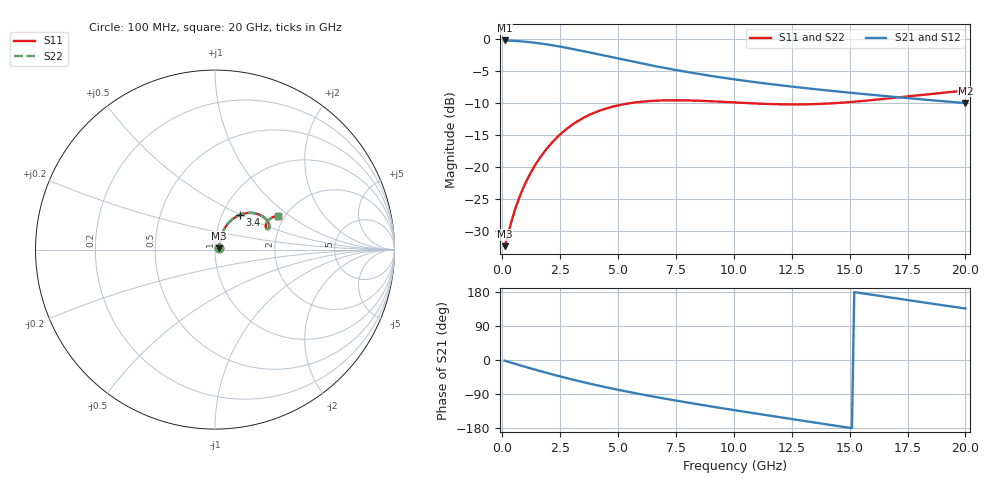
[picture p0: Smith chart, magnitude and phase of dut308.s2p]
! Touchstone file exported from HFSS 2024.1.0
!  File:  C:/UserFiles/LocalFiles/RDL_TSV_Batchsim/temp_RDL_TSV_308_1779626804.aedt
!  Generated:  09:01:15 PM May 24, 2026
!  Design:  RDL_TSV
!  Project:  temp_RDL_TSV_308_1779626804
!  Setup:  Setup1
!  Solution:  Sweep
! Variables:
!  dtsv = 7.36um
!  hbump = 3um
!  htsv = 86.81um
!  ldown = 301.75um
!  lrdl = 554.7um
!  p = 40
!  p1 = 44.72um
!  rhole = 10um
!  subl = 3124.05um
!  t = 450um
!  tdown = 3.64um
!  trdl = 3.82um
!  viad = 10um
!  wdown = 12.15um
!  wrdl = 13.78um
!  xbump = 18um
# GHz S MA R 50.000000
! Terminal data exported
! Port[1] = TM1_1_T1
! Port[2] = TM1_4_T1
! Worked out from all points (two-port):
!   200 points, 100 MHz to 20 GHz, reference 50 ohm
!   highest |S21| = -0.20 dB at 100 MHz (marker M1); lowest = -10.0 dB at 20 GHz (marker M2)
!   |S21| within 3 dB of the highest: start of sweep to 5.225 GHz
!   lowest |S11| = -32.4 dB at 100 MHz (marker M3), VSWR 1.05, Z = 52.3 + j0.765 ohm
!   |S11| at or under -10 dB: start of sweep to 5.535 GHz; 10.57 GHz to 14.39 GHz (3.813 GHz wide, 30.6 % of centre)
!   |S22| runs from -32.4 to -8.0 dB; largest |S21 - S12| = 3.8e-14
!   S11 on the Smith chart (normalised r, x): 100 MHz: 1.05, +0.02; 3.4 GHz: 1.21, +0.49; 20 GHz: 1.84, +0.82
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0.1  0.02407 17.7  0.9769 -1.9  0.9769 -1.9  0.02407 17.7
! Gamma 0 0 0 0
! Port Impedance 50 0 50 0
0.5  0.04351 52.5  0.9704 -9.2  0.9704 -9.2  0.04351 52.5
0.7  0.05557 58.7  0.9652 -12.8  0.9652 -12.8  0.05557 58.8
1  0.07487 63.6  0.9553 -18.2  0.9553 -18.2  0.07487 63.7
1.4  0.1022 65.9  0.9381 -25.2  0.9381 -25.2  0.1023 66.0
1.8  0.1306 65.6  0.9172 -32.0  0.9172 -32.0  0.1307 65.7
2.3  0.1662 63.2  0.8871 -40.2  0.8871 -40.2  0.1664 63.3
2.8  0.2001 59.6  0.8541 -48.1  0.8541 -48.1  0.2004 59.8
3.4  0.2366 54.6  0.8128 -57.1  0.8128 -57.1  0.2371 54.8
3.5  0.2422 53.8  0.8058 -58.5  0.8058 -58.5  0.2426 53.9
4.2  0.2758 47.7  0.7577 -68.2  0.7577 -68.2  0.2765 47.9
4.9  0.3007 42.1  0.7118 -77.4  0.7118 -77.4  0.3016 42.2
5.8  0.321 35.7  0.6578 -88.3  0.6578 -88.3  0.3221 35.9
6.8  0.3313 30.0  0.6055 -99.6  0.6055 -99.6  0.3327 30.1
8.4  0.3305 23.9  0.5376 -116.4  0.5376 -116.4  0.3322 24.0
10.1  0.3194 21.2  0.4827 -133.1  0.4827 -133.1  0.3213 21.3
11.7  0.3104 21.8  0.4427 -148.3  0.4427 -148.3  0.3124 21.8
13.4  0.3103 24.4  0.4085 -164.2  0.4085 -164.2  0.3122 24.3
15  0.322 27.2  0.3815 -179.0  0.3815 -179.0  0.3237 27.1
16.7  0.3445 29.1  0.3567 165.5  0.3567 165.5  0.3459 28.9
18.4  0.3716 29.2  0.3348 150.1  0.3348 150.1  0.3729 29.1
20  0.3963 28.1  0.3165 135.9  0.3165 135.9  0.3974 28.0
